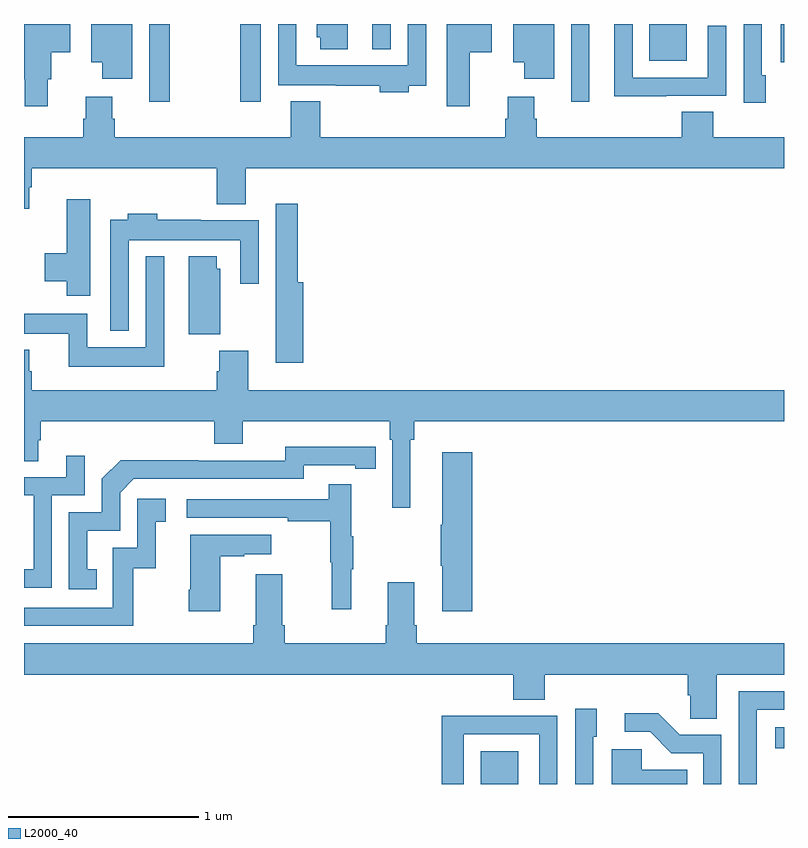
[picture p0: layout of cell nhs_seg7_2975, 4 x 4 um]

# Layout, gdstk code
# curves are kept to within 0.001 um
import gdstk
lib = gdstk.Library(unit=1e-6, precision=1e-09)
def R(c, l, rs):  # rectangles x0, y0, x1, y1
    for r in rs: c.add(gdstk.rectangle(r[:2], r[2:], *l))
def P(c, l, *ps):  # polygons
    for p in ps: c.add(gdstk.Polygon(p, *l))
L2000_40 = (2000, 40)

nhs_seg7_2975 = lib.new_cell('nhs_seg7_2975')
R(nhs_seg7_2975, L2000_40, [(303.404,1040,303.601,1040.173), (304.953,1040.189,305,1040.299), (301.659,1043.592,301.768,1044), (302.139,1043.592,302.247,1044), (303.879,1043.592,303.976,1044), (304.982,1043.798,305,1044), (304.292,1043.807,304.489,1044), (302.834,1043.867,302.931,1044)])
P(nhs_seg7_2975, L2000_40, [(301.57,1044),(301.355,1044),(301.355,1043.798),(301.412,1043.798),(301.412,1043.712),(301.57,1043.712)],
  [(304.903,1043.73),(304.884,1043.73),(304.884,1044),(304.788,1044),(304.788,1043.586),(304.903,1043.586)],
  [(303.346,1043.851),(303.463,1043.851),(303.463,1043.998),(303.346,1043.998),(303.346,1044),(303.224,1044),(303.224,1043.568),(303.346,1043.568)],
  [(304.379,1043.622),(304.695,1043.622),(304.695,1043.992),(304.599,1043.992),(304.599,1043.718),(304.203,1043.718),(304.203,1044),(304.106,1044),(304.106,1043.621),(304.379,1043.621)],
  [(303.025,1043.676),(303.117,1043.676),(303.117,1044),(303.021,1044),(303.021,1043.782),(302.433,1043.782),(302.433,1044),(302.337,1044),(302.337,1043.678),(302.641,1043.678),(302.641,1043.676),(302.873,1043.676),(302.873,1043.642),(303.025,1043.642)],
  [(303.79,1044),(303.575,1044),(303.575,1043.798),(303.632,1043.798),(303.632,1043.712),(303.79,1043.712)],
  [(302.704,1044),(302.54,1044),(302.54,1043.931),(302.558,1043.931),(302.558,1043.868),(302.704,1043.868)],
  [(301.126,1043.709),(301.144,1043.709),(301.144,1043.851),(301.243,1043.851),(301.243,1043.998),(301.144,1043.998),(301.144,1044),(301,1044),(301,1043.709),(301.004,1043.709),(301.004,1043.568),(301.126,1043.568)],
  [(301.027,1043.142),(301.04,1043.142),(301.04,1043.24),(302.015,1043.24),(302.015,1043.051),(302.167,1043.051),(302.167,1043.24),(305,1043.24),(305,1043.404),(304.628,1043.404),(304.628,1043.537),(304.463,1043.537),(304.463,1043.404),(303.698,1043.404),(303.698,1043.502),(303.685,1043.502),(303.685,1043.617),(303.545,1043.617),(303.545,1043.502),(303.533,1043.502),(303.533,1043.404),(302.558,1043.404),(302.558,1043.593),(302.405,1043.593),(302.405,1043.404),(301.478,1043.404),(301.478,1043.502),(301.465,1043.502),(301.465,1043.617),(301.325,1043.617),(301.325,1043.502),(301.313,1043.502),(301.313,1043.404),(301,1043.404),(301,1043.028),(301.027,1043.028)],
  [(301.348,1043.077),(301.226,1043.077),(301.226,1042.794),(301.109,1042.794),(301.109,1042.646),(301.226,1042.646),(301.226,1042.569),(301.348,1042.569)],
  [(302.471,1042.642),(302.441,1042.642),(302.441,1043.053),(302.325,1043.053),(302.325,1042.538),(302.324,1042.538),(302.324,1042.218),(302.471,1042.218)],
  [(301.551,1042.862),(302.139,1042.862),(302.139,1042.632),(302.235,1042.632),(302.235,1042.966),(301.931,1042.966),(301.931,1042.969),(301.7,1042.969),(301.7,1043.002),(301.547,1043.002),(301.547,1042.969),(301.455,1042.969),(301.455,1042.385),(301.551,1042.385)],
  [(301.738,1042.777),(301.641,1042.777),(301.641,1042.3),(301.332,1042.3),(301.332,1042.474),(301,1042.474),(301,1042.37),(301.235,1042.37),(301.235,1042.196),(301.738,1042.196)],
  [(302.032,1042.713),(302.014,1042.713),(302.014,1042.777),(301.868,1042.777),(301.868,1042.366),(302.032,1042.366)],
  [(303.034,1041.812),(303.053,1041.812),(303.053,1041.908),(305,1041.908),(305,1042.072),(302.18,1042.072),(302.18,1042.281),(302.027,1042.281),(302.027,1042.172),(302.015,1042.172),(302.015,1042.072),(301.04,1042.072),(301.04,1042.173),(301.027,1042.173),(301.027,1042.285),(301,1042.285),(301,1041.7),(301.075,1041.7),(301.075,1041.81),(301.088,1041.81),(301.088,1041.908),(302,1041.908),(302,1041.791),(302.152,1041.791),(302.152,1041.908),(302.924,1041.908),(302.924,1041.812),(302.937,1041.812),(302.937,1041.453),(303.034,1041.453)],
  [(301.382,1041.129),(301.333,1041.129),(301.333,1041.333),(301.506,1041.333),(301.506,1041.534),(301.578,1041.606),(302.472,1041.606),(302.472,1041.678),(302.744,1041.678),(302.744,1041.658),(302.852,1041.658),(302.852,1041.774),(302.376,1041.775),(302.376,1041.702),(301.916,1041.702),(301.916,1041.704),(301.508,1041.704),(301.41,1041.606),(301.41,1041.429),(301.236,1041.429),(301.236,1041.024),(301.382,1041.024)],
  [(303.359,1041.745),(303.2,1041.745),(303.2,1041.365),(303.193,1041.365),(303.193,1041.148),(303.2,1041.148),(303.2,1040.91),(303.359,1040.91)],
  [(301.146,1041.519),(301.32,1041.519),(301.32,1041.727),(301.223,1041.727),(301.223,1041.615),(301,1041.615),(301,1041.519),(301.05,1041.519),(301.05,1041.13),(301,1041.13),(301,1041.033),(301.146,1041.033)],
  [(302.723,1041.131),(302.734,1041.131),(302.734,1041.305),(302.723,1041.305),(302.723,1041.577),(302.605,1041.577),(302.605,1041.498),(301.857,1041.498),(301.857,1041.402),(302.389,1041.402),(302.389,1041.382),(302.613,1041.382),(302.613,1041.168),(302.62,1041.168),(302.62,1040.919),(302.723,1040.919)],
  [(301.576,1041.135),(301.694,1041.135),(301.694,1041.381),(301.747,1041.381),(301.747,1041.502),(301.596,1041.502),(301.596,1041.243),(301.467,1041.243),(301.467,1040.928),(301,1040.928),(301,1040.832),(301.576,1040.832)],
  [(302.032,1041.199),(302.159,1041.199),(302.159,1041.209),(302.302,1041.209),(302.302,1041.313),(301.874,1041.313),(301.874,1041.022),(301.867,1041.022),(301.867,1040.91),(302.032,1040.91)],
  [(304.645,1040.576),(305,1040.576),(305,1040.74),(303.068,1040.74),(303.068,1040.836),(303.055,1040.836),(303.055,1041.061),(302.915,1041.061),(302.915,1040.836),(302.903,1040.836),(302.903,1040.74),(302.372,1040.74),(302.372,1040.836),(302.359,1040.836),(302.359,1041.103),(302.219,1041.103),(302.219,1040.836),(302.207,1040.836),(302.207,1040.74),(301,1040.74),(301,1040.576),(303.575,1040.576),(303.575,1040.443),(303.74,1040.443),(303.74,1040.576),(304.493,1040.576),(304.493,1040.467),(304.506,1040.467),(304.506,1040.344),(304.645,1040.344)],
  [(304.857,1040.391),(305,1040.391),(305,1040.487),(304.761,1040.487),(304.761,1040),(304.857,1040)],
  [(303.996,1040.25),(304.015,1040.25),(304.015,1040.395),(303.9,1040.395),(303.9,1040),(303.996,1040)],
  [(304.671,1040.259),(304.452,1040.259),(304.339,1040.372),(304.161,1040.372),(304.161,1040.274),(304.295,1040.274),(304.406,1040.163),(304.575,1040.163),(304.575,1040),(304.671,1040)],
  [(303.315,1040.262),(303.711,1040.262),(303.711,1040),(303.807,1040),(303.807,1040.358),(303.491,1040.358),(303.491,1040.36),(303.199,1040.36),(303.199,1040),(303.315,1040)],
  [(304.49,1040.074),(304.251,1040.074),(304.251,1040.182),(304.094,1040.182),(304.094,1040),(304.49,1040)])

lib.write_gds('nhs_seg7_2975.gds')
